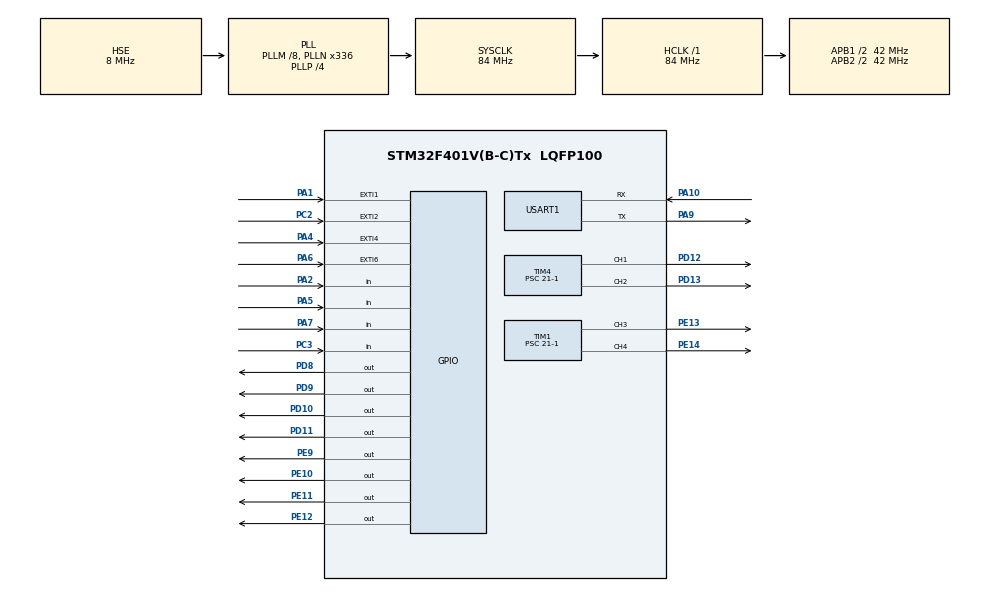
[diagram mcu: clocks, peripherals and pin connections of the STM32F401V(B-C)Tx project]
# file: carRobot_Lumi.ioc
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Dma.Request0=USART1_RX
Dma.USART1_RX.0.Direction=DMA_PERIPH_TO_MEMORY
Dma.USART1_RX.0.FIFOMode=DMA_FIFOMODE_DISABLE
Dma.USART1_RX.0.Instance=DMA2_Stream2
Dma.USART1_RX.0.MemDataAlignment=DMA_MDATAALIGN_BYTE
Dma.USART1_RX.0.MemInc=DMA_MINC_ENABLE
Dma.USART1_RX.0.Mode=DMA_CIRCULAR
Dma.USART1_RX.0.PeriphDataAlignment=DMA_PDATAALIGN_BYTE
Dma.USART1_RX.0.PeriphInc=DMA_PINC_DISABLE
Dma.USART1_RX.0.Priority=DMA_PRIORITY_LOW
Mcu.Family=STM32F4
Mcu.Name=STM32F401V(B-C)Tx
Mcu.Package=LQFP100
NVIC.DMA2_Stream2_IRQn=true\:0\:0\:false\:false\:true\:false\:true
NVIC.EXTI1_IRQn=true\:0\:0\:false\:false\:true\:true\:true
NVIC.EXTI2_IRQn=true\:0\:0\:false\:false\:true\:true\:true
NVIC.EXTI4_IRQn=true\:0\:0\:false\:false\:true\:true\:true
NVIC.EXTI9_5_IRQn=true\:0\:0\:false\:false\:true\:true\:true
NVIC.PriorityGroup=NVIC_PRIORITYGROUP_4
NVIC.TIM2_IRQn=true\:0\:0\:false\:false\:true\:true\:true
PA1.GPIO_ModeDefaultEXTI=GPIO_MODE_IT_FALLING
PA1.GPIO_PuPd=GPIO_PULLUP
PA1.Signal=GPXTI1
PA10.Mode=Asynchronous
PA10.Signal=USART1_RX
PA13.Mode=Serial_Wire
PA13.Signal=SYS_JTMS-SWDIO
PA14.Mode=Serial_Wire
PA14.Signal=SYS_JTCK-SWCLK
PA2.GPIO_PuPd=GPIO_PULLUP
PA2.Signal=GPIO_Input
PA4.GPIO_ModeDefaultEXTI=GPIO_MODE_IT_FALLING
PA4.GPIO_PuPd=GPIO_PULLUP
PA4.Signal=GPXTI4
PA5.GPIO_PuPd=GPIO_PULLUP
PA5.Signal=GPIO_Input
PA6.GPIO_ModeDefaultEXTI=GPIO_MODE_IT_FALLING
PA6.GPIO_PuPd=GPIO_PULLUP
PA6.Signal=GPXTI6
PA7.GPIO_PuPd=GPIO_PULLUP
PA7.Signal=GPIO_Input
PA9.Mode=Asynchronous
PA9.Signal=USART1_TX
PC2.GPIO_ModeDefaultEXTI=GPIO_MODE_IT_FALLING
PC2.GPIO_PuPd=GPIO_PULLUP
PC2.Signal=GPXTI2
PC3.GPIO_PuPd=GPIO_PULLUP
PC3.Signal=GPIO_Input
PD10.Signal=GPIO_Output
PD11.Signal=GPIO_Output
PD12.Signal=S_TIM4_CH1
PD13.Signal=S_TIM4_CH2
PD8.Signal=GPIO_Output
PD9.Signal=GPIO_Output
PE10.Signal=GPIO_Output
PE11.Signal=GPIO_Output
PE12.Signal=GPIO_Output
PE13.Signal=S_TIM1_CH3
PE14.Signal=S_TIM1_CH4
PE9.Signal=GPIO_Output
PH0\ -\ OSC_IN.Mode=HSE-External-Oscillator
PH0\ -\ OSC_IN.Signal=RCC_OSC_IN
PH1\ -\ OSC_OUT.Mode=HSE-External-Oscillator
PH1\ -\ OSC_OUT.Signal=RCC_OSC_OUT
ProjectManager.HeapSize=0x200
ProjectManager.StackSize=0x400
ProjectManager.TargetToolchain=MDK-ARM V5.27
RCC.48MHZClocksFreq_Value=84000000
RCC.AHBFreq_Value=84000000
RCC.APB1CLKDivider=RCC_HCLK_DIV2
RCC.APB1Freq_Value=42000000
RCC.APB1TimFreq_Value=84000000
RCC.APB2CLKDivider=RCC_HCLK_DIV2
RCC.APB2Freq_Value=42000000
RCC.APB2TimFreq_Value=84000000
RCC.CortexFreq_Value=84000000
RCC.HCLKFreq_Value=84000000
RCC.HSE_VALUE=8000000
RCC.HSI_VALUE=16000000
RCC.LSE_VALUE=32768
RCC.PLLM=8
RCC.PLLN=336
RCC.PLLP=RCC_PLLP_DIV4
RCC.PLLSourceVirtual=RCC_PLLSOURCE_HSE
RCC.SYSCLKFreq_VALUE=84000000
RCC.SYSCLKSource=RCC_SYSCLKSOURCE_PLLCLK
RCC.VCOOutputFreq_Value=336000000
SH.S_TIM1_CH3.0=TIM1_CH3,PWM Generation3 CH3
SH.S_TIM1_CH4.0=TIM1_CH4,PWM Generation4 CH4
SH.S_TIM4_CH1.0=TIM4_CH1,PWM Generation1 CH1
SH.S_TIM4_CH2.0=TIM4_CH2,PWM Generation2 CH2
TIM1.Channel-PWM\ Generation3\ CH3=TIM_CHANNEL_3
TIM1.Channel-PWM\ Generation4\ CH4=TIM_CHANNEL_4
TIM1.Period=4000-1
TIM1.Prescaler=21-1
TIM2.Period=250-1
TIM2.Prescaler=8400-1
TIM4.Channel-PWM\ Generation1\ CH1=TIM_CHANNEL_1
TIM4.Channel-PWM\ Generation2\ CH2=TIM_CHANNEL_2
TIM4.Period=4000-1
TIM4.Prescaler=21-1
USART1.VirtualMode=VM_ASYNC
VP_TIM2_VS_ClockSourceINT.Mode=Internal
board=custom

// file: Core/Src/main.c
/* USER CODE BEGIN Header */
/**
  ******************************************************************************
  * @file           : main.c
  * @brief          : Main program body
  ******************************************************************************
  * @attention
  *
  * <h2><center>&copy; Copyright (c) 2021 STMicroelectronics.
  * All rights reserved.</center></h2>
  *
  * This software component is licensed by ST under BSD 3-Clause license,
  * the "License"; You may not use this file except in compliance with the
  * License. You may obtain a copy of the License at:
  *                        opensource.org/licenses/BSD-3-Clause
  *
  ******************************************************************************
  */
/* USER CODE END Header */
#include "main.h"
#include <stdio.h>
#include <string.h>
/* USER CODE BEGIN Includes */
char dataReceiveJetson[6] = {'0','0','0','0','0','0'};
extern volatile int  Output1 ;
extern volatile int  Output2 ;
extern volatile int  Output3 ;
extern volatile int  Output4 ;

extern volatile int rSpeed1;
extern volatile int rSpeed2;
extern volatile int rSpeed3;
extern volatile int rSpeed4;
extern volatile int count;

/* USER CODE END Includes */

TIM_HandleTypeDef htim1;
TIM_HandleTypeDef htim2;
TIM_HandleTypeDef htim4;

UART_HandleTypeDef huart1;
DMA_HandleTypeDef hdma_usart1_rx;

void SystemClock_Config(void);
static void MX_GPIO_Init(void);
static void MX_DMA_Init(void);
static void MX_TIM1_Init(void);
static void MX_TIM4_Init(void);
static void MX_USART1_UART_Init(void);
static void MX_TIM2_Init(void);

/* USER CODE BEGIN 0 */
int chuyenChartoInt(char c)
{
		return (int)c-48;
}
void DC1_thuan(int speed)
{
	__HAL_TIM_SET_COMPARE(&htim1,TIM_CHANNEL_3,speed);
	HAL_GPIO_WritePin(GPIOE,GPIO_PIN_11,GPIO_PIN_SET);
	HAL_GPIO_WritePin(GPIOE,GPIO_PIN_12,GPIO_PIN_RESET);
}
void DC1_nghich(int speed)
{
	__HAL_TIM_SET_COMPARE(&htim1,TIM_CHANNEL_3,speed);
	HAL_GPIO_WritePin(GPIOE,GPIO_PIN_11,GPIO_PIN_RESET);
	HAL_GPIO_WritePin(GPIOE,GPIO_PIN_12,GPIO_PIN_SET);
}

void DC2_thuan(int speed)
{
	__HAL_TIM_SET_COMPARE(&htim1,TIM_CHANNEL_4,speed);
	HAL_GPIO_WritePin(GPIOE,GPIO_PIN_9,GPIO_PIN_SET);
	HAL_GPIO_WritePin(GPIOE,GPIO_PIN_10,GPIO_PIN_RESET);
}

void DC2_nghich(int speed)
{
	__HAL_TIM_SET_COMPARE(&htim1,TIM_CHANNEL_4,speed);
	HAL_GPIO_WritePin(GPIOE,GPIO_PIN_9,GPIO_PIN_RESET);
	HAL_GPIO_WritePin(GPIOE,GPIO_PIN_10,GPIO_PIN_SET);
}

void DC3_thuan(int speed)
{
	__HAL_TIM_SET_COMPARE(&htim4,TIM_CHANNEL_1,speed);
	HAL_GPIO_WritePin(GPIOD,GPIO_PIN_10,GPIO_PIN_RESET);
	HAL_GPIO_WritePin(GPIOD,GPIO_PIN_11,GPIO_PIN_SET);
}
void DC3_nghich(int speed)
{
	__HAL_TIM_SET_COMPARE(&htim4,TIM_CHANNEL_1,speed);
	HAL_GPIO_WritePin(GPIOD,GPIO_PIN_10,GPIO_PIN_SET);
	HAL_GPIO_WritePin(GPIOD,GPIO_PIN_11,GPIO_PIN_RESET);
}

void DC4_thuan(int speed)
{
	__HAL_TIM_SET_COMPARE(&htim4,TIM_CHANNEL_2,speed);
	HAL_GPIO_WritePin(GPIOD,GPIO_PIN_8,GPIO_PIN_RESET);
	HAL_GPIO_WritePin(GPIOD,GPIO_PIN_9,GPIO_PIN_SET);
}
void DC4_nghich(int speed)
{
	__HAL_TIM_SET_COMPARE(&htim4,TIM_CHANNEL_2,speed);
	HAL_GPIO_WritePin(GPIOD,GPIO_PIN_8,GPIO_PIN_SET);
	HAL_GPIO_WritePin(GPIOD,GPIO_PIN_9,GPIO_PIN_RESET);
}

void ngangPhai()
{
	DC1_thuan(Output1);
	DC3_thuan(Output3);
	DC2_nghich(Output2);
	DC4_nghich(Output4);
}
void ngangTrai()
{
	DC1_nghich(Output1);
	DC3_nghich(Output3);
	DC2_thuan(Output2);
	DC4_thuan(Output4);
}

void lui()
{
	DC1_nghich(Output1);
	DC4_nghich(Output4);
	DC2_nghich(Output2);
	DC3_nghich(Output3);
}

void tien()
{
	DC1_thuan(Output1);
	DC4_thuan(Output4);
	DC2_thuan(Output2);
	DC3_thuan(Output3);
}
void xoayTrai()
{
	DC1_nghich(Output1);
	DC2_nghich(Output2);
	DC3_thuan(Output3);
	DC4_thuan(Output4);
}
void xoayPhai()
{
	DC1_thuan(Output1);
	DC2_thuan(Output2);
	DC3_nghich(Output3);
	DC4_nghich(Output4);
}

void dung()
{
	HAL_GPIO_WritePin(GPIOE,GPIO_PIN_11,GPIO_PIN_SET);
	HAL_GPIO_WritePin(GPIOE,GPIO_PIN_12,GPIO_PIN_SET);

	HAL_GPIO_WritePin(GPIOE,GPIO_PIN_9,GPIO_PIN_SET);
	HAL_GPIO_WritePin(GPIOE,GPIO_PIN_10,GPIO_PIN_SET);

	HAL_GPIO_WritePin(GPIOD,GPIO_PIN_10,GPIO_PIN_SET);
	HAL_GPIO_WritePin(GPIOD,GPIO_PIN_11,GPIO_PIN_SET);

	HAL_GPIO_WritePin(GPIOD,GPIO_PIN_8,GPIO_PIN_SET);
	HAL_GPIO_WritePin(GPIOD,GPIO_PIN_9,GPIO_PIN_SET);
}

void xienPhai()
{
	DC1_thuan(Output1);
	DC3_thuan(Output3);

	HAL_GPIO_WritePin(GPIOE,GPIO_PIN_9,GPIO_PIN_SET);
	HAL_GPIO_WritePin(GPIOE,GPIO_PIN_10,GPIO_PIN_SET);

	HAL_GPIO_WritePin(GPIOD,GPIO_PIN_8,GPIO_PIN_SET);
	HAL_GPIO_WritePin(GPIOD,GPIO_PIN_9,GPIO_PIN_SET);
}

void xienTrai()
{
	DC2_thuan(Output2);
	DC4_thuan(Output4);

	HAL_GPIO_WritePin(GPIOE,GPIO_PIN_11,GPIO_PIN_SET);
	HAL_GPIO_WritePin(GPIOE,GPIO_PIN_12,GPIO_PIN_SET);

	HAL_GPIO_WritePin(GPIOD,GPIO_PIN_10,GPIO_PIN_SET);
	HAL_GPIO_WritePin(GPIOD,GPIO_PIN_11,GPIO_PIN_SET);
}

void xuLyJetson()
{
	switch(dataReceiveJetson[5])
	{
		case '0':
			tien();
			break;
		case '1':
			lui();
			break;
		case '2':
			ngangTrai();
			break;
		case '3':
			ngangPhai();
			break;
		case '4':
			dung();
			break;
		case '5':
			xienPhai();
			break;
		case '6':
			xienTrai();
			break;
		case '7':
			xoayTrai();
			break;
		case '8':
			xoayPhai();
			break;
		default:
			break;
	}
}

/* USER CODE END 0 */

int main(void)
{

  /* MCU Configuration--------------------------------------------------------*/

  /* Reset of all peripherals, Initializes the Flash interface and the Systick. */
  HAL_Init();

  /* Configure the system clock */
  SystemClock_Config();

  /* Initialize all configured peripherals */
  MX_GPIO_Init();
  MX_DMA_Init();
  MX_TIM1_Init();
  MX_TIM4_Init();
  MX_USART1_UART_Init();
  MX_TIM2_Init();
  /* USER CODE BEGIN 2 */
	HAL_TIM_PWM_Start(&htim1,TIM_CHANNEL_3);
	HAL_TIM_PWM_Start(&htim1,TIM_CHANNEL_4);
	HAL_TIM_PWM_Start(&htim4,TIM_CHANNEL_1);
	HAL_TIM_PWM_Start(&htim4,TIM_CHANNEL_2);
	HAL_TIM_Base_Start_IT(&htim2);
	HAL_UART_Receive_DMA(&huart1,(uint8_t*)&dataReceiveJetson,6);
  /* USER CODE END 2 */

  /* Infinite loop */
  while (1)
  {
		xuLyJetson();
  }
}

void SystemClock_Config(void)
{
  RCC_OscInitTypeDef RCC_OscInitStruct = {0};
  RCC_ClkInitTypeDef RCC_ClkInitStruct = {0};

  /** Configure the main internal regulator output voltage
  */
  __HAL_RCC_PWR_CLK_ENABLE();
  __HAL_PWR_VOLTAGESCALING_CONFIG(PWR_REGULATOR_VOLTAGE_SCALE2);
  /** Initializes the RCC Oscillators according to the specified parameters
  * in the RCC_OscInitTypeDef structure.
  */
  RCC_OscInitStruct.OscillatorType = RCC_OSCILLATORTYPE_HSE;
  RCC_OscInitStruct.HSEState = RCC_HSE_ON;
  RCC_OscInitStruct.PLL.PLLState = RCC_PLL_ON;
  RCC_OscInitStruct.PLL.PLLSource = RCC_PLLSOURCE_HSE;
  RCC_OscInitStruct.PLL.PLLM = 8;
  RCC_OscInitStruct.PLL.PLLN = 336;
  RCC_OscInitStruct.PLL.PLLP = RCC_PLLP_DIV4;
  RCC_OscInitStruct.PLL.PLLQ = 4;
  if (HAL_RCC_OscConfig(&RCC_OscInitStruct) != HAL_OK)
  {
    Error_Handler();
  }
  /** Initializes the CPU, AHB and APB buses clocks
  */
  RCC_ClkInitStruct.ClockType = RCC_CLOCKTYPE_HCLK|RCC_CLOCKTYPE_SYSCLK
                              |RCC_CLOCKTYPE_PCLK1|RCC_CLOCKTYPE_PCLK2;
  RCC_ClkInitStruct.SYSCLKSource = RCC_SYSCLKSOURCE_PLLCLK;
  RCC_ClkInitStruct.AHBCLKDivider = RCC_SYSCLK_DIV1;
  RCC_ClkInitStruct.APB1CLKDivider = RCC_HCLK_DIV2;
  RCC_ClkInitStruct.APB2CLKDivider = RCC_HCLK_DIV2;

  if (HAL_RCC_ClockConfig(&RCC_ClkInitStruct, FLASH_LATENCY_2) != HAL_OK)
  {
    Error_Handler();
  }
}

static void MX_TIM1_Init(void)
{

  TIM_MasterConfigTypeDef sMasterConfig = {0};
  TIM_OC_InitTypeDef sConfigOC = {0};
  TIM_BreakDeadTimeConfigTypeDef sBreakDeadTimeConfig = {0};

  htim1.Instance = TIM1;
  htim1.Init.Prescaler = 21-1;
  htim1.Init.CounterMode = TIM_COUNTERMODE_UP;
  htim1.Init.Period = 4000-1;
  htim1.Init.ClockDivision = TIM_CLOCKDIVISION_DIV1;
  htim1.Init.RepetitionCounter = 0;
  htim1.Init.AutoReloadPreload = TIM_AUTORELOAD_PRELOAD_DISABLE;
  if (HAL_TIM_PWM_Init(&htim1) != HAL_OK)
  {
    Error_Handler();
  }
  sMasterConfig.MasterOutputTrigger = TIM_TRGO_RESET;
  sMasterConfig.MasterSlaveMode = TIM_MASTERSLAVEMODE_DISABLE;
  if (HAL_TIMEx_MasterConfigSynchronization(&htim1, &sMasterConfig) != HAL_OK)
  {
    Error_Handler();
  }
  sConfigOC.OCMode = TIM_OCMODE_PWM1;
  sConfigOC.Pulse = 0;
  sConfigOC.OCPolarity = TIM_OCPOLARITY_HIGH;
  sConfigOC.OCNPolarity = TIM_OCNPOLARITY_HIGH;
  sConfigOC.OCFastMode = TIM_OCFAST_DISABLE;
  sConfigOC.OCIdleState = TIM_OCIDLESTATE_RESET;
  sConfigOC.OCNIdleState = TIM_OCNIDLESTATE_RESET;
  if (HAL_TIM_PWM_ConfigChannel(&htim1, &sConfigOC, TIM_CHANNEL_3) != HAL_OK)
  {
    Error_Handler();
  }
  if (HAL_TIM_PWM_ConfigChannel(&htim1, &sConfigOC, TIM_CHANNEL_4) != HAL_OK)
  {
    Error_Handler();
  }
  sBreakDeadTimeConfig.OffStateRunMode = TIM_OSSR_DISABLE;
  sBreakDeadTimeConfig.OffStateIDLEMode = TIM_OSSI_DISABLE;
  sBreakDeadTimeConfig.LockLevel = TIM_LOCKLEVEL_OFF;
  sBreakDeadTimeConfig.DeadTime = 0;
  sBreakDeadTimeConfig.BreakState = TIM_BREAK_DISABLE;
  sBreakDeadTimeConfig.BreakPolarity = TIM_BREAKPOLARITY_HIGH;
  sBreakDeadTimeConfig.AutomaticOutput = TIM_AUTOMATICOUTPUT_DISABLE;
  if (HAL_TIMEx_ConfigBreakDeadTime(&htim1, &sBreakDeadTimeConfig) != HAL_OK)
  {
    Error_Handler();
  }
  HAL_TIM_MspPostInit(&htim1);

}

static void MX_TIM2_Init(void)
{

  TIM_ClockConfigTypeDef sClockSourceConfig = {0};
  TIM_MasterConfigTypeDef sMasterConfig = {0};

  htim2.Instance = TIM2;
  htim2.Init.Prescaler = 8400-1;
  htim2.Init.CounterMode = TIM_COUNTERMODE_UP;
  htim2.Init.Period = 250-1;
  htim2.Init.ClockDivision = TIM_CLOCKDIVISION_DIV1;
  htim2.Init.AutoReloadPreload = TIM_AUTORELOAD_PRELOAD_DISABLE;
  if (HAL_TIM_Base_Init(&htim2) != HAL_OK)
  {
    Error_Handler();
  }
  sClockSourceConfig.ClockSource = TIM_CLOCKSOURCE_INTERNAL;
  if (HAL_TIM_ConfigClockSource(&htim2, &sClockSourceConfig) != HAL_OK)
  {
    Error_Handler();
  }
  sMasterConfig.MasterOutputTrigger = TIM_TRGO_RESET;
  sMasterConfig.MasterSlaveMode = TIM_MASTERSLAVEMODE_DISABLE;
  if (HAL_TIMEx_MasterConfigSynchronization(&htim2, &sMasterConfig) != HAL_OK)
  {
    Error_Handler();
  }

}

static void MX_TIM4_Init(void)
{

  TIM_MasterConfigTypeDef sMasterConfig = {0};
  TIM_OC_InitTypeDef sConfigOC = {0};

  htim4.Instance = TIM4;
  htim4.Init.Prescaler = 21-1;
  htim4.Init.CounterMode = TIM_COUNTERMODE_UP;
  htim4.Init.Period = 4000-1;
  htim4.Init.ClockDivision = TIM_CLOCKDIVISION_DIV1;
  htim4.Init.AutoReloadPreload = TIM_AUTORELOAD_PRELOAD_DISABLE;
  if (HAL_TIM_PWM_Init(&htim4) != HAL_OK)
  {
    Error_Handler();
  }
  sMasterConfig.MasterOutputTrigger = TIM_TRGO_RESET;
  sMasterConfig.MasterSlaveMode = TIM_MASTERSLAVEMODE_DISABLE;
  if (HAL_TIMEx_MasterConfigSynchronization(&htim4, &sMasterConfig) != HAL_OK)
  {
    Error_Handler();
  }
  sConfigOC.OCMode = TIM_OCMODE_PWM1;
  sConfigOC.Pulse = 0;
  sConfigOC.OCPolarity = TIM_OCPOLARITY_HIGH;
  sConfigOC.OCFastMode = TIM_OCFAST_DISABLE;
  if (HAL_TIM_PWM_ConfigChannel(&htim4, &sConfigOC, TIM_CHANNEL_1) != HAL_OK)
  {
    Error_Handler();
  }
  if (HAL_TIM_PWM_ConfigChannel(&htim4, &sConfigOC, TIM_CHANNEL_2) != HAL_OK)
  {
    Error_Handler();
  }
  HAL_TIM_MspPostInit(&htim4);

}

static void MX_USART1_UART_Init(void)
{

  huart1.Instance = USART1;
  huart1.Init.BaudRate = 115200;
  huart1.Init.WordLength = UART_WORDLENGTH_8B;
  huart1.Init.StopBits = UART_STOPBITS_1;
  huart1.Init.Parity = UART_PARITY_NONE;
  huart1.Init.Mode = UART_MODE_TX_RX;
  huart1.Init.HwFlowCtl = UART_HWCONTROL_NONE;
  huart1.Init.OverSampling = UART_OVERSAMPLING_16;
  if (HAL_UART_Init(&huart1) != HAL_OK)
  {
    Error_Handler();
  }

}

static void MX_DMA_Init(void)
{

  /* DMA controller clock enable */
  __HAL_RCC_DMA2_CLK_ENABLE();

  /* DMA interrupt init */
  /* DMA2_Stream2_IRQn interrupt configuration */
  HAL_NVIC_SetPriority(DMA2_Stream2_IRQn, 0, 0);
  HAL_NVIC_EnableIRQ(DMA2_Stream2_IRQn);

}

static void MX_GPIO_Init(void)
{
  GPIO_InitTypeDef GPIO_InitStruct = {0};

  /* GPIO Ports Clock Enable */
  __HAL_RCC_GPIOH_CLK_ENABLE();
  __HAL_RCC_GPIOC_CLK_ENABLE();
  __HAL_RCC_GPIOA_CLK_ENABLE();
  __HAL_RCC_GPIOE_CLK_ENABLE();
  __HAL_RCC_GPIOD_CLK_ENABLE();

  /*Configure GPIO pin Output Level */
  HAL_GPIO_WritePin(GPIOE, GPIO_PIN_9|GPIO_PIN_10|GPIO_PIN_11|GPIO_PIN_12, GPIO_PIN_RESET);

  /*Configure GPIO pin Output Level */
  HAL_GPIO_WritePin(GPIOD, GPIO_PIN_8|GPIO_PIN_9|GPIO_PIN_10|GPIO_PIN_11, GPIO_PIN_RESET);

  /*Configure GPIO pin : PC2 */
  GPIO_InitStruct.Pin = GPIO_PIN_2;
  GPIO_InitStruct.Mode = GPIO_MODE_IT_FALLING;
  GPIO_InitStruct.Pull = GPIO_PULLUP;
  HAL_GPIO_Init(GPIOC, &GPIO_InitStruct);

  /*Configure GPIO pin : PC3 */
  GPIO_InitStruct.Pin = GPIO_PIN_3;
  GPIO_InitStruct.Mode = GPIO_MODE_INPUT;
  GPIO_InitStruct.Pull = GPIO_PULLUP;
  HAL_GPIO_Init(GPIOC, &GPIO_InitStruct);

  /*Configure GPIO pins : PA1 PA4 PA6 */
  GPIO_InitStruct.Pin = GPIO_PIN_1|GPIO_PIN_4|GPIO_PIN_6;
  GPIO_InitStruct.Mode = GPIO_MODE_IT_FALLING;
  GPIO_InitStruct.Pull = GPIO_PULLUP;
  HAL_GPIO_Init(GPIOA, &GPIO_InitStruct);

  /*Configure GPIO pins : PA2 PA5 PA7 */
  GPIO_InitStruct.Pin = GPIO_PIN_2|GPIO_PIN_5|GPIO_PIN_7;
  GPIO_InitStruct.Mode = GPIO_MODE_INPUT;
  GPIO_InitStruct.Pull = GPIO_PULLUP;
  HAL_GPIO_Init(GPIOA, &GPIO_InitStruct);

  /*Configure GPIO pins : PE9 PE10 PE11 PE12 */
  GPIO_InitStruct.Pin = GPIO_PIN_9|GPIO_PIN_10|GPIO_PIN_11|GPIO_PIN_12;
  GPIO_InitStruct.Mode = GPIO_MODE_OUTPUT_PP;
  GPIO_InitStruct.Pull = GPIO_NOPULL;
  GPIO_InitStruct.Speed = GPIO_SPEED_FREQ_LOW;
  HAL_GPIO_Init(GPIOE, &GPIO_InitStruct);

  /*Configure GPIO pins : PD8 PD9 PD10 PD11 */
  GPIO_InitStruct.Pin = GPIO_PIN_8|GPIO_PIN_9|GPIO_PIN_10|GPIO_PIN_11;
  GPIO_InitStruct.Mode = GPIO_MODE_OUTPUT_PP;
  GPIO_InitStruct.Pull = GPIO_NOPULL;
  GPIO_InitStruct.Speed = GPIO_SPEED_FREQ_LOW;
  HAL_GPIO_Init(GPIOD, &GPIO_InitStruct);

  /* EXTI interrupt init*/
  HAL_NVIC_SetPriority(EXTI1_IRQn, 0, 0);
  HAL_NVIC_EnableIRQ(EXTI1_IRQn);

  HAL_NVIC_SetPriority(EXTI2_IRQn, 0, 0);
  HAL_NVIC_EnableIRQ(EXTI2_IRQn);

  HAL_NVIC_SetPriority(EXTI4_IRQn, 0, 0);
  HAL_NVIC_EnableIRQ(EXTI4_IRQn);

  HAL_NVIC_SetPriority(EXTI9_5_IRQn, 0, 0);
  HAL_NVIC_EnableIRQ(EXTI9_5_IRQn);

}

/* USER CODE BEGIN 4 */
_ARMABI int fputc(int c, FILE * stream)
{
	HAL_UART_Transmit(&huart1,(uint8_t*)&c,1,100);
	return 0;
}
/* USER CODE END 4 */

void Error_Handler(void)
{
}

/************************ (C) COPYRIGHT STMicroelectronics *****END OF FILE****/
